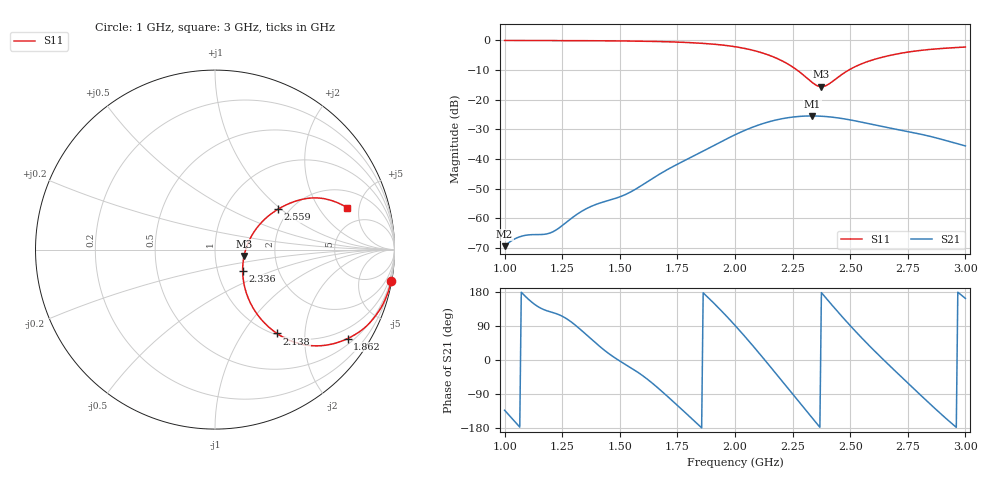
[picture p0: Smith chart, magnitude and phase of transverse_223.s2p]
! TOUCHSTONE file generated by CST MICROWAVE STUDIO
! Date and time: Tue Mar 11 13:57:51 2025
! Project name: transverse.cst
! Parameters = {Fracture=1; B=10; D=160; F=5; Feed=2.85625; L=100; M=20; R=0.384908; S=2; Theta=270; length=57.125; wave=114.25}
! Header version: 2024
! Port assignment regex: !\s*Touchstone port\s*([0-9]+)\s*=\s*(CST MWS port|CST DES external port|CST DES block port)\s*(.+)\s* \(\"(.*)\"\)(\s*mode\s*([0-9]+))?.*
! Touchstone port assignment:
! Touchstone port 1 = CST MWS port 1 ("")
! Touchstone port 2 = CST MWS port 2 ("")
# GHz S MA R 50
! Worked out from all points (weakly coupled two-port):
!   305 points, 1 GHz to 3 GHz, reference 50 ohm
!   highest |S21| = -25.48 dB at 2.336 GHz (marker M1); lowest = -69.4 dB at 1 GHz (marker M2)
!   lowest |S11| = -15.6 dB at 2.375 GHz (marker M3), VSWR 1.40, Z = 69.1 - j4.95 ohm
!   |S11| at or under -10 dB: 2.269 GHz to 2.494 GHz (224.3 MHz wide, 9.42 % of centre)
!   S12 and S22 are empty: the file has one direction only
!   S11 on the Smith chart (normalised r, x): 1 GHz: 0, -11; 1.862 GHz: 0.66, -3.16; 2.138 GHz: 1.02, -1.44; 2.336 GHz: 1.32, -0.33; 2.559 GHz: 1.75, +0.95; 3 GHz: 3.25, +3.77
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1  0.9979 -10.0  0.0003393 -132.6  0 0.0  0 0.0
1.03289  0.9973 -10.5  0.000426 -155.1  0 0.0  0 0.0
1.07237  0.9965 -11.0  0.0004981 178.7  0 0.0  0 0.0
1.17105  0.995 -12.5  0.000537 132.7  0 0.0  0 0.0
1.20395  0.9945 -13.1  0.0005792 126.1  0 0.0  0 0.0
1.33553  0.9897 -15.5  0.001321 77.2  0 0.0  0 0.0
1.39474  0.987 -16.7  0.001705 45.2  0 0.0  0 0.0
1.53289  0.9765 -20.3  0.00261 -14.8  0 0.0  0 0.0
1.67105  0.9566 -24.8  0.005519 -76.6  0 0.0  0 0.0
1.86184  0.8901 -33.8  0.01361 177.3  0 0.0  0 0.0
2  0.7834 -43.2  0.02563 91.4  0 0.0  0 0.0
2.07237  0.6896 -48.9  0.03394 41.3  0 0.0  0 0.0
2.13816  0.5803 -53.6  0.04147 -6.5  0 0.0  0 0.0
2.23684  0.3847 -56.8  0.05018 -80.0  0 0.0  0 0.0
2.33553  0.1948 -37.7  0.05324 -153.4  0 0.0  0 0.0
2.375  0.1658 -12.1  0.05266 177.8  0 0.0  0 0.0
2.40132  0.1779 5.8  0.05175 158.9  0 0.0  0 0.0
2.46711  0.2719 28.3  0.04804 112.9  0 0.0  0 0.0
2.55921  0.4171 32.7  0.04108 52.5  0 0.0  0 0.0
2.67105  0.5567 30.1  0.03338 -14.9  0 0.0  0 0.0
2.82895  0.6937 23.6  0.02503 -106.0  0 0.0  0 0.0
3  0.7729 17.6  0.01663 162.5  0 0.0  0 0.0
